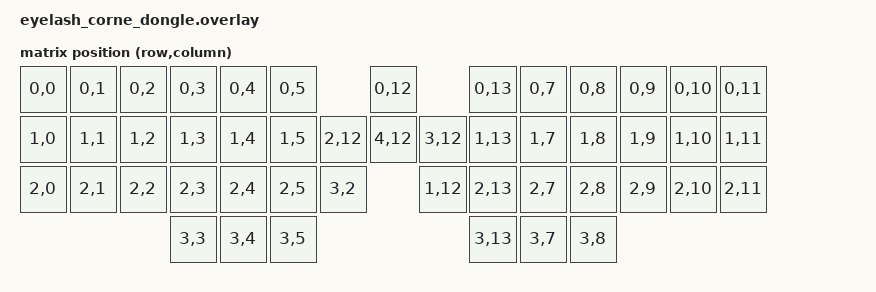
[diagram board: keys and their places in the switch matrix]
#include <dt-bindings/zmk/matrix_transform.h>
#include <dt-bindings/led/led.h>

/ {
    chosen {
        zmk,kscan = &mock_kscan;
        zmk,matrix_transform = &default_transform;
        zephyr,display = &oled;
        /* Фиктивная лента (ни к чему не подключена): нужна, чтобы на донгле
         * скомпилировался драйвер underglow и поведения &rgb_ug ретранслировались
         * на половинки (rgb_ug — global behavior). */
        zmk,underglow = &led_strip;
        zmk,ws2812-widget = &led_strip;
        zephyr,console = &cdc_acm_uart0;
    };

    mock_kscan: kscan_1 {
        compatible = "zmk,kscan-mock";
        columns = <0>;
        rows = <0>;
        events = <0>;
    };

    /* Копия трансформации из boards/arm/eyelash_corne/eyelash_corne.dtsi —
     * донгл (central) собирает keymap, ему нужна та же матрица. */
    default_transform: keymap_transform_0 {
        compatible = "zmk,matrix-transform";
        columns = <14>;
        rows = <5>;
        map = <
            RC(0,0) RC(0,1) RC(0,2) RC(0,3) RC(0,4) RC(0,5)                      RC(0,12)           RC(0,13) RC(0,7) RC(0,8) RC(0,9) RC(0,10) RC(0,11)
            RC(1,0) RC(1,1) RC(1,2) RC(1,3) RC(1,4) RC(1,5)             RC(2,12) RC(4,12) RC(3,12)  RC(1,13) RC(1,7) RC(1,8) RC(1,9) RC(1,10) RC(1,11)
            RC(2,0) RC(2,1) RC(2,2) RC(2,3) RC(2,4) RC(2,5) RC(3,2)              RC(1,12)           RC(2,13) RC(2,7) RC(2,8) RC(2,9) RC(2,10) RC(2,11)
                                    RC(3,3) RC(3,4) RC(3,5)                                         RC(3,13) RC(3,7) RC(3,8)
        >;
    };
};

/* OLED на донгле — как в charybdis_dongle.overlay (1.3" sh1106).
 * Если у твоего донгла 0.96" SSD1306: compatible = "solomon,ssd1306fb",
 * segment-offset = <0>, убери inversion-on. */
&pro_micro_i2c {
    status = "okay";

    oled: ssd1306@3c {
        compatible = "sinowealth,sh1106";
        reg = <0x3c>;
        width = <128>;
        height = <64>;
        segment-offset = <2>;
        page-offset = <0>;
        display-offset = <0>;
        multiplex-ratio = <63>;
        segment-remap;
        com-invdir;
        inversion-on;
        prechargep = <0x22>;
    };
};

/* Фиктивный WS2812 на неиспользуемом пине P1.11 (физически ничего не подключено). */
&pinctrl {
    spi3_default: spi3_default {
        group1 {
            psels = <NRF_PSEL(SPIM_MOSI, 1, 11)>;
        };
    };

    spi3_sleep: spi3_sleep {
        group1 {
            psels = <NRF_PSEL(SPIM_MOSI, 1, 11)>;
            low-power-enable;
        };
    };
};

&spi3 {
    status = "okay";
    compatible = "nordic,nrf-spim";
    pinctrl-0 = <&spi3_default>;
    pinctrl-1 = <&spi3_sleep>;
    pinctrl-names = "default", "sleep";

    led_strip: ws2812@0 {
        compatible = "worldsemi,ws2812-spi";
        reg = <0>;
        spi-max-frequency = <4000000>;
        chain-length = <1>;
        spi-one-frame = <0x70>;
        spi-zero-frame = <0x40>;
        color-mapping = <LED_COLOR_ID_GREEN LED_COLOR_ID_RED LED_COLOR_ID_BLUE>;
    };
};

/* USB CDC ACM console for LOG_INF output (screen /dev/tty.usbmodem* 115200) */
&zephyr_udc0 {
    cdc_acm_uart0: cdc_acm_uart0 {
        compatible = "zephyr,cdc-acm-uart";
    };
};
